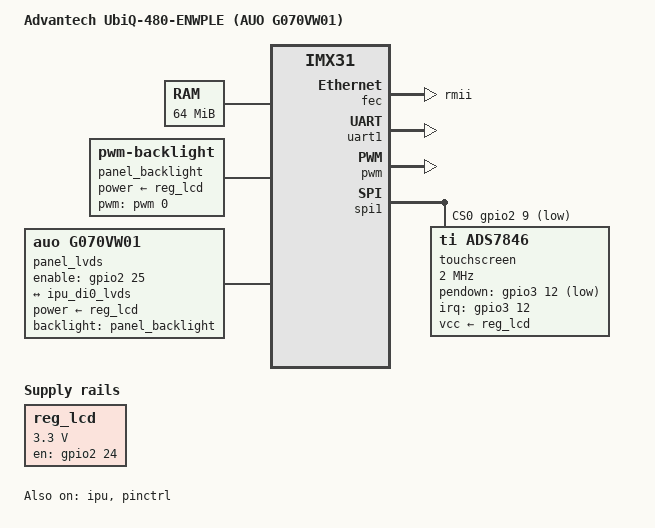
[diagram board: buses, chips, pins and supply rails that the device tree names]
/* SPDX-License-Identifier: GPL-2.0+ */

/dts-v1/;

#include "imx31.dtsi"

/ {
model = "Advantech UbiQ-480-ENWPLE (AUO G070VW01)";
compatible = "advantech,ubiq480-g070vw01", "fsl,imx31";

aliases {
serial0 = &uart1;
ethernet0 = &fec;
spi0 = &spi1;
};

chosen {
stdout-path = &uart1;
};

memory@80000000 {
device_type = "memory";
reg = <0x80000000 0x04000000>; /* 64 MiB */
};

regulators {
compatible = "simple-bus";
#address-cells = <1>;
#size-cells = <0>;

reg_lcd: regulator@0 {
compatible = "regulator-fixed";
reg = <0>;
regulator-name = "vcc-lcd";
regulator-min-microvolt = <3300000>;
regulator-max-microvolt = <3300000>;
enable-active-high;
gpio = <&gpio2 24 0>;
startup-delay-us = <1000>;
};
};

panel_backlight: backlight {
compatible = "pwm-backlight";
power-supply = <&reg_lcd>;
pwms = <&pwm 0 50000 0>;
brightness-levels = <0 16 32 48 64 80 96 112 128 144 160 176 192 208 224 255>;
default-brightness-level = <12>;
status = "okay";
};

panel_lvds: panel {
compatible = "auo,g070vw01";
backlight = <&panel_backlight>;
power-supply = <&reg_lcd>;
enable-gpios = <&gpio2 25 0>;
data-mapping = "jeida-18";
width-mm = <152>;
height-mm = <91>;

panel-timing {
clock-frequency = <33200000>;
hactive = <800>;
hfront-porch = <40>;
hback-porch = <88>;
hsync-len = <128>;
vactive = <480>;
vfront-porch = <5>;
vback-porch = <35>;
vsync-len = <2>;
hsync-active = <0>;
vsync-active = <0>;
de-active = <1>;
pixelclk-active = <0>;
};

port {
panel_input: endpoint {
remote-endpoint = <&ipu_di0_lvds>;
};
};
};
};

&soc {
ipu: ipu@53fc0000 {
compatible = "fsl,imx31-ipu";
reg = <0x53fc0000 0x4000>;
interrupts = <6>;
clocks = <&clks 43>;
clock-names = "ipu";
status = "okay";

display-controller {
compatible = "fsl,imx31-mx3fb";
clocks = <&clks 43>;
clock-names = "ipu";
status = "okay";

port@0 {
reg = <0>;

ipu_di0_lvds: endpoint {
remote-endpoint = <&panel_input>;
bus-width = <18>;
};
};
};
};

fec: ethernet@53fec000 {
compatible = "fsl,imx31-fec", "fsl,imx27-fec";
reg = <0x53fec000 0x4000>;
interrupts = <39>;
clocks = <&clks 10>, <&clks 23>;
clock-names = "ipg", "ahb";
phy-mode = "rmii";
local-mac-address = [00 11 22 33 44 55];
status = "okay";
};

pinctrl: iomuxc@43fac000 {
compatible = "fsl,imx31-iomuxc";
reg = <0x43fac000 0x4000>;

ubiq480_uart1: uart1grp {
fsl,pins = <
0x000 0x004 0x000 0x0 0x0 0x0
0x008 0x00c 0x000 0x0 0x0 0x0
>;
};

ubiq480_spi1: spi1grp {
fsl,pins = <
0x010 0x014 0x000 0x0 0x0 0x0
0x018 0x01c 0x000 0x0 0x0 0x0
0x020 0x024 0x000 0x0 0x0 0x0
>;
};

ubiq480_pwm: pwmgrp {
fsl,pins = <
0x028 0x02c 0x000 0x0 0x0 0x0
>;
};

ubiq480_fec: fecgrp {
fsl,pins = <
0x030 0x034 0x000 0x0 0x0 0x0
0x038 0x03c 0x000 0x0 0x0 0x0
0x040 0x044 0x000 0x0 0x0 0x0
0x048 0x04c 0x000 0x0 0x0 0x0
0x050 0x054 0x000 0x0 0x0 0x0
>;
};

ubiq480_touch: touchgrp {
fsl,pins = <
0x058 0x05c 0x000 0x0 0x0 0x0
>;
};
};
};

&uart1 {
pinctrl-names = "default";
pinctrl-0 = <&ubiq480_uart1>;
status = "okay";
};

&pwm {
pinctrl-names = "default";
pinctrl-0 = <&ubiq480_pwm>;
status = "okay";
};

&spi1 {
pinctrl-names = "default";
pinctrl-0 = <&ubiq480_spi1>;
status = "okay";
cs-gpios = <&gpio2 9 1>;

touchscreen@0 {
compatible = "ti,ads7846";
reg = <0>;
spi-max-frequency = <2000000>;
interrupt-parent = <&gpio3>;
interrupts = <12 2>;
pendown-gpio = <&gpio3 12 1>;
vcc-supply = <&reg_lcd>;
wakeup-source;
ti,x-plate-ohms = <400>;
ti,pressure-max = <255>;
};
};

&pinctrl {
status = "okay";
};

&pinctrl { /* ensure alias exists for dtc */
};

